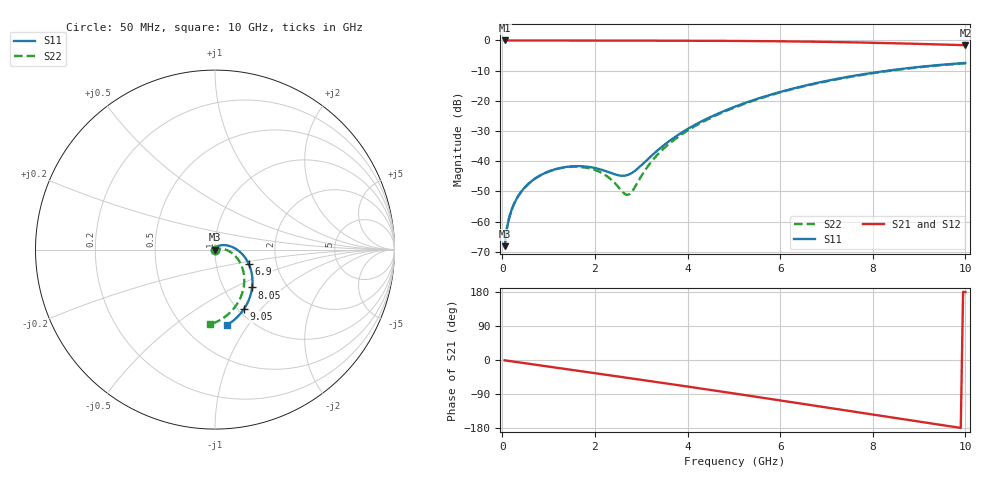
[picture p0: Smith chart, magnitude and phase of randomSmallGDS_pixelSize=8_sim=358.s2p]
! freq	dB(S11)	phase(S11)	dB(S12)	phase(S12)
!  dB(S21)	phase(S21)	dB(S22)	phase(S22)
!S-par simulation data
#  GHz  S  DB  R 50
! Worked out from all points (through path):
!   200 points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, 50 MHz to 10 GHz, reference 50 ohm
!   highest |S21| = 0.00 dB at 50 MHz (marker M1); lowest = -1.6 dB at 10 GHz (marker M2)
!   group delay of S21, straight-line fit = 50.5 ps
!   lowest |S11| = -68.1 dB at 50 MHz (marker M3), VSWR 1.00, Z = 50 - j0.0393 ohm
!   |S11| at or under -10 dB: start of sweep to 8.324 GHz
!   |S22| runs from -68.1 to -7.6 dB; largest |S21 - S12| = 0
!   S11 on the Smith chart (normalised r, x): 50 MHz: 1.00, -0.00; 6.9 GHz: 1.44, -0.25; 8.05 GHz: 1.36, -0.63; 9.05 GHz: 1.06, -0.81; 10 GHz: 0.79, -0.80
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0.05  -68.11 -87.1  -0.00 -0.9  -0.00 -0.9  -68.08 -86.7
0.1  -62.11 -90.4  -0.00 -1.8  -0.00 -1.8  -62.09 -89.5
0.2  -56.13 -93.8  -0.00 -3.5  -0.00 -3.5  -56.11 -92.1
0.35  -51.38 -97.9  -0.01 -6.1  -0.01 -6.1  -51.36 -94.8
0.5  -48.43 -101.7  -0.01 -8.7  -0.01 -8.7  -48.42 -97.2
0.75  -45.31 -108.2  -0.02 -13.1  -0.02 -13.1  -45.31 -101.1
1.05  -43.09 -116.2  -0.02 -18.3  -0.02 -18.3  -43.13 -105.4
1.75  -41.67 -138.9  -0.03 -30.4  -0.03 -30.4  -41.99 -113.1
2.2  -43.09 -163.4  -0.04 -38.3  -0.04 -38.3  -44.34 -112.0
2.7  -44.57 136.2  -0.05 -47.0  -0.05 -47.0  -51.15 -56.9
2.8  -43.85 120.7  -0.05 -48.8  -0.05 -48.8  -50.06 -30.0
3.1  -39.92 85.0  -0.06 -54.1  -0.06 -54.1  -42.58 5.8
3.4  -35.78 64.4  -0.07 -59.4  -0.07 -59.4  -37.05 11.6
4.1  -28.45 38.0  -0.10 -71.9  -0.10 -71.9  -28.91 7.1
5.05  -21.77 14.6  -0.16 -89.1  -0.16 -89.1  -22.00 -6.6
5.85  -17.70 -2.4  -0.25 -103.9  -0.25 -103.9  -17.88 -19.9
6.7  -14.38 -19.5  -0.40 -119.7  -0.40 -119.7  -14.53 -34.8
6.9  -13.71 -23.5  -0.45 -123.5  -0.45 -123.5  -13.86 -38.4
8.05  -10.59 -45.5  -0.78 -145.1  -0.78 -145.1  -10.73 -59.1
8.35  -9.95 -51.1  -0.89 -150.7  -0.89 -150.7  -10.08 -64.5
9.05  -8.68 -63.9  -1.16 -163.7  -1.16 -163.7  -8.82 -77.0
10  -7.44 -80.6  -1.56 179.1  -1.56 179.1  -7.58 -93.7
